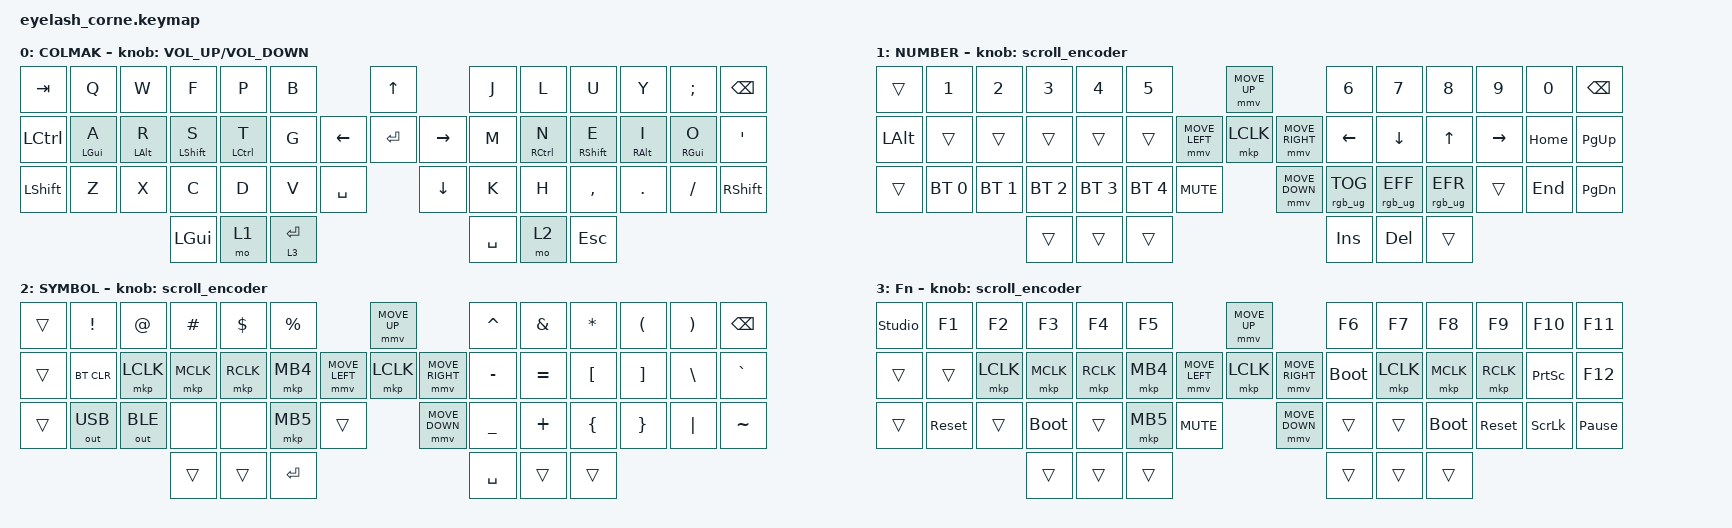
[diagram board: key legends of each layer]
#include <dt-bindings/zmk/mouse.h>
#include <input/processors.dtsi>
#include <behaviors.dtsi>
#include <dt-bindings/zmk/bt.h>
#include <dt-bindings/zmk/keys.h>
#include <dt-bindings/zmk/outputs.h>
#include <dt-bindings/zmk/pointing.h>
#include <dt-bindings/zmk/rgb.h>

/*

   &mmv_input_listener {
       input-processors = <&zip_xy_scaler 2 1>;
   };

   &msc_input_listener {
       input-processors = <&zip_xy_scaler 2 1>;
   };

 */

#define ZMK_MOUSE_DEFAULT_MOVE_VAL 1200  // 600
#define ZMK_MOUSE_DEFAULT_SCRL_VAL 20    // 10

&mt { tapping-term-ms = <300>; 
      flavor = "balanced";
      require-prior-idle-ms = <150>;
};

&lt {
    tapping-term-ms = <300>; // This is the value already set by default
};

/ {
    behaviors {
        td0: td0 {
            compatible = "zmk,behavior-tap-dance";
            display-name = "Shift/Caps Lock Tap Dance";
            #binding-cells = <0>;
            bindings = <&kp LEFT_SHIFT>, <&kp CAPS>;
        };
    };

    rgb_encoder: rgb_encoder {
        compatible = "zmk,behavior-sensor-rotate";
        #sensor-binding-cells = <0>;
        bindings = <&rgb_ug RGB_BRI>, <&rgb_ug RGB_BRD>;
    };

    scroll_encoder: scroll_encoder {
        compatible = "zmk,behavior-sensor-rotate";
        #sensor-binding-cells = <0>;
        bindings = <&msc SCRL_DOWN>, <&msc SCRL_UP>;

        tap-ms = <30>;
    };

    keymap {
        compatible = "zmk,keymap";

        default_layer {
            display-name = "COLMAK";
            bindings = <
&kp TAB         &kp Q           &kp W           &kp F             &kp P               &kp B                               &kp UP                &kp J      &kp L                &kp U              &kp Y            &kp SEMICOLON    &kp BSPC
&kp LCTRL       &mt LEFT_GUI A  &mt LEFT_ALT R  &mt LEFT_SHIFT S  &mt LEFT_CONTROL T  &kp G                     &kp LEFT  &kp ENTER  &kp RIGHT  &kp M      &mt RIGHT_CONTROL N  &mt RIGHT_SHIFT E  &mt RIGHT_ALT I  &mt RIGHT_GUI O  &kp SQT
&kp LEFT_SHIFT  &kp Z           &kp X           &kp C             &kp D               &kp V        &kp SPACE              &kp DOWN              &kp K      &kp H                &kp COMMA          &kp DOT          &kp FSLH         &kp RIGHT_SHIFT
                                                &kp LGUI          &mo 1               &lt 3 ENTER                                               &kp SPACE  &mo 2                &kp ESC
            >;

            sensor-bindings = <&inc_dec_kp C_VOLUME_UP C_VOLUME_DOWN>;
        };

        lower_layer {
            display-name = "NUMBER";
            bindings = <
&trans        &kp N1        &kp N2        &kp N3        &kp N4        &kp N5                                      &mmv MOVE_UP                     &kp N6           &kp N7           &kp N8           &kp N9     &kp N0    &kp BSPC
&kp LEFT_ALT  &trans        &trans        &trans        &trans        &trans                      &mmv MOVE_LEFT  &mkp LCLK       &mmv MOVE_RIGHT  &kp LEFT         &kp DOWN         &kp UP           &kp RIGHT  &kp HOME  &kp PG_UP
&trans        &bt BT_SEL 0  &bt BT_SEL 1  &bt BT_SEL 2  &bt BT_SEL 3  &bt BT_SEL 4  &kp C_MUTE                    &mmv MOVE_DOWN                   &rgb_ug RGB_TOG  &rgb_ug RGB_EFF  &rgb_ug RGB_EFR  &trans     &kp END   &kp PG_DN
                                          &trans        &trans        &trans                                                                       &kp INS          &kp DEL          &trans
            >;

            sensor-bindings = <&scroll_encoder>;
        };

        raise_layer {
            display-name = "SYMBOL";
            bindings = <
&trans  &kp EXCL      &kp AT        &kp HASH   &kp DLLR   &kp PRCNT                            &mmv MOVE_UP                     &kp CARET  &kp AMPS   &kp ASTRK  &kp LPAR  &kp RPAR  &kp BSPC
&trans  &bt BT_CLR    &mkp LCLK     &mkp MCLK  &mkp RCLK  &mkp MB4             &mmv MOVE_LEFT  &mkp LCLK       &mmv MOVE_RIGHT  &kp MINUS  &kp EQUAL  &kp LBKT   &kp RBKT  &kp BSLH  &kp GRAVE
&trans  &out OUT_USB  &out OUT_BLE  &none      &none      &mkp MB5   &trans                    &mmv MOVE_DOWN                   &kp UNDER  &kp PLUS   &kp LBRC   &kp RBRC  &kp PIPE  &kp TILDE
                                    &trans     &trans     &kp ENTER                                                             &kp SPACE  &trans     &trans
            >;

            sensor-bindings = <&scroll_encoder>;
        };

        layer_3 {
            display-name = "Fn";
            bindings = <
&studio_unlock  &kp F1      &kp F2     &kp F3       &kp F4     &kp F5                                  &mmv MOVE_UP                     &kp F6       &kp F7     &kp F8       &kp F9      &kp F10          &kp F11
&trans          &trans      &mkp LCLK  &mkp MCLK    &mkp RCLK  &mkp MB4                &mmv MOVE_LEFT  &mkp LCLK       &mmv MOVE_RIGHT  &bootloader  &mkp LCLK  &mkp MCLK    &mkp RCLK   &kp PRINTSCREEN  &kp F12
&trans          &sys_reset  &trans     &bootloader  &trans     &mkp MB5  &kp C_MUTE                    &mmv MOVE_DOWN                   &trans       &trans     &bootloader  &sys_reset  &kp SCROLLLOCK   &kp PAUSE_BREAK
                                       &trans       &trans     &trans                                                                   &trans       &trans     &trans
            >;

            sensor-bindings = <&scroll_encoder>;
        };
    };
};
